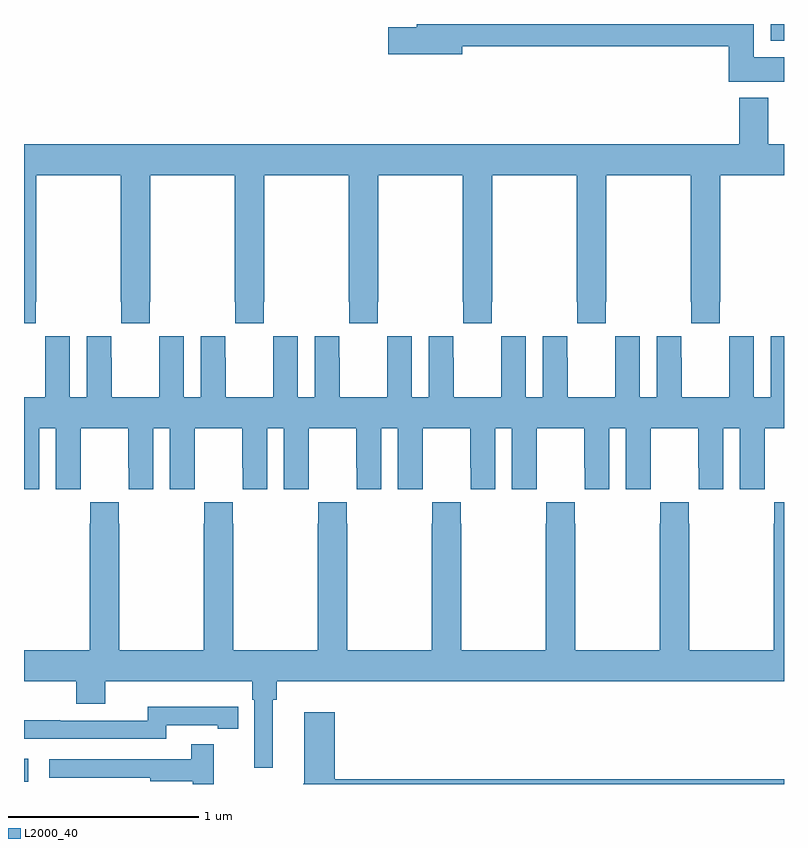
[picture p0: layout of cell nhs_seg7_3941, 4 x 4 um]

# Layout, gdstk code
import gdstk
lib = gdstk.Library(unit=1e-6, precision=1e-09)
def R(c, l, rs):  # rectangles x0, y0, x1, y1
    for r in rs: c.add(gdstk.rectangle(r[:2], r[2:], *l))
def P(c, l, *ps):  # polygons
    for p in ps: c.add(gdstk.Polygon(p, *l))
L2000_40 = (2000, 40)

nhs_seg7_3941 = lib.new_cell('nhs_seg7_3941')
R(nhs_seg7_3941, L2000_40, [(359,1076.013,359.023,1076.134), (362.93,1079.912,363,1080)])
P(nhs_seg7_3941, L2000_40, [(363,1079.824),(362.842,1079.824),(362.842,1080),(361.067,1080),(361.067,1079.984),(360.918,1079.984),(360.918,1079.842),(361.306,1079.842),(361.306,1079.884),(362.708,1079.884),(362.708,1079.696),(363,1079.696)],
  [(359.061,1078.537),(359.064,1078.537),(359.064,1079.204),(359.509,1079.204),(359.509,1078.537),(359.511,1078.537),(359.511,1078.425),(359.661,1078.425),(359.661,1078.537),(359.664,1078.537),(359.664,1079.204),(360.109,1079.204),(360.109,1078.537),(360.111,1078.537),(360.111,1078.425),(360.261,1078.425),(360.261,1078.537),(360.264,1078.537),(360.264,1079.204),(360.709,1079.204),(360.709,1078.537),(360.711,1078.537),(360.711,1078.425),(360.861,1078.425),(360.861,1078.537),(360.864,1078.537),(360.864,1079.204),(361.309,1079.204),(361.309,1078.537),(361.311,1078.537),(361.311,1078.425),(361.461,1078.425),(361.461,1078.537),(361.464,1078.537),(361.464,1079.204),(361.909,1079.204),(361.909,1078.537),(361.911,1078.537),(361.911,1078.425),(362.061,1078.425),(362.061,1078.537),(362.064,1078.537),(362.064,1079.204),(362.509,1079.204),(362.509,1078.537),(362.511,1078.537),(362.511,1078.425),(362.661,1078.425),(362.661,1078.537),(362.664,1078.537),(362.664,1079.204),(363,1079.204),(363,1079.368),(362.917,1079.368),(362.917,1079.611),(362.765,1079.611),(362.765,1079.368),(359,1079.368),(359,1078.425),(359.061,1078.425)],
  [(360.749,1077.664),(360.75,1077.664),(360.75,1077.552),(360.88,1077.552),(360.88,1077.872),(360.968,1077.872),(360.968,1077.552),(361.098,1077.552),(361.098,1077.664),(361.099,1077.664),(361.099,1077.872),(361.349,1077.872),(361.349,1077.664),(361.35,1077.664),(361.35,1077.552),(361.48,1077.552),(361.48,1077.872),(361.568,1077.872),(361.568,1077.552),(361.698,1077.552),(361.698,1077.664),(361.699,1077.664),(361.699,1077.872),(361.949,1077.872),(361.949,1077.664),(361.95,1077.664),(361.95,1077.552),(362.08,1077.552),(362.08,1077.872),(362.168,1077.872),(362.168,1077.552),(362.298,1077.552),(362.298,1077.664),(362.299,1077.664),(362.299,1077.872),(362.549,1077.872),(362.549,1077.664),(362.55,1077.664),(362.55,1077.552),(362.68,1077.552),(362.68,1077.872),(362.768,1077.872),(362.768,1077.552),(362.898,1077.552),(362.898,1077.664),(362.899,1077.664),(362.899,1077.872),(363,1077.872),(363,1078.357),(362.93,1078.357),(362.93,1078.036),(362.842,1078.036),(362.842,1078.357),(362.712,1078.357),(362.712,1078.244),(362.711,1078.244),(362.711,1078.036),(362.461,1078.036),(362.461,1078.244),(362.46,1078.244),(362.46,1078.357),(362.33,1078.357),(362.33,1078.036),(362.242,1078.036),(362.242,1078.357),(362.112,1078.357),(362.112,1078.244),(362.111,1078.244),(362.111,1078.036),(361.861,1078.036),(361.861,1078.244),(361.86,1078.244),(361.86,1078.357),(361.73,1078.357),(361.73,1078.036),(361.642,1078.036),(361.642,1078.357),(361.512,1078.357),(361.512,1078.244),(361.511,1078.244),(361.511,1078.036),(361.261,1078.036),(361.261,1078.244),(361.26,1078.244),(361.26,1078.357),(361.13,1078.357),(361.13,1078.036),(361.042,1078.036),(361.042,1078.357),(360.912,1078.357),(360.912,1078.244),(360.911,1078.244),(360.911,1078.036),(360.661,1078.036),(360.661,1078.244),(360.66,1078.244),(360.66,1078.357),(360.53,1078.357),(360.53,1078.036),(360.442,1078.036),(360.442,1078.357),(360.312,1078.357),(360.312,1078.244),(360.311,1078.244),(360.311,1078.036),(360.061,1078.036),(360.061,1078.244),(360.06,1078.244),(360.06,1078.357),(359.93,1078.357),(359.93,1078.036),(359.842,1078.036),(359.842,1078.357),(359.712,1078.357),(359.712,1078.244),(359.711,1078.244),(359.711,1078.036),(359.461,1078.036),(359.461,1078.244),(359.46,1078.244),(359.46,1078.357),(359.33,1078.357),(359.33,1078.036),(359.242,1078.036),(359.242,1078.357),(359.112,1078.357),(359.112,1078.244),(359.111,1078.244),(359.111,1078.036),(359,1078.036),(359,1077.552),(359.08,1077.552),(359.08,1077.872),(359.168,1077.872),(359.168,1077.552),(359.298,1077.552),(359.298,1077.664),(359.299,1077.664),(359.299,1077.872),(359.549,1077.872),(359.549,1077.664),(359.55,1077.664),(359.55,1077.552),(359.68,1077.552),(359.68,1077.872),(359.768,1077.872),(359.768,1077.552),(359.898,1077.552),(359.898,1077.664),(359.899,1077.664),(359.899,1077.872),(360.149,1077.872),(360.149,1077.664),(360.15,1077.664),(360.15,1077.552),(360.28,1077.552),(360.28,1077.872),(360.368,1077.872),(360.368,1077.552),(360.498,1077.552),(360.498,1077.664),(360.499,1077.664),(360.499,1077.872),(360.749,1077.872)],
  [(363,1077.484),(362.949,1077.484),(362.949,1077.371),(362.947,1077.371),(362.947,1076.704),(362.502,1076.704),(362.502,1077.371),(362.499,1077.371),(362.499,1077.484),(362.349,1077.484),(362.349,1077.371),(362.347,1077.371),(362.347,1076.704),(361.902,1076.704),(361.902,1077.371),(361.899,1077.371),(361.899,1077.484),(361.749,1077.484),(361.749,1077.371),(361.747,1077.371),(361.747,1076.704),(361.302,1076.704),(361.302,1077.371),(361.299,1077.371),(361.299,1077.484),(361.149,1077.484),(361.149,1077.371),(361.147,1077.371),(361.147,1076.704),(360.702,1076.704),(360.702,1077.371),(360.699,1077.371),(360.699,1077.484),(360.549,1077.484),(360.549,1077.371),(360.547,1077.371),(360.547,1076.704),(360.102,1076.704),(360.102,1077.371),(360.099,1077.371),(360.099,1077.484),(359.949,1077.484),(359.949,1077.371),(359.947,1077.371),(359.947,1076.704),(359.502,1076.704),(359.502,1077.371),(359.499,1077.371),(359.499,1077.484),(359.349,1077.484),(359.349,1077.371),(359.347,1077.371),(359.347,1076.704),(359,1076.704),(359,1076.54),(359.276,1076.54),(359.276,1076.423),(359.428,1076.423),(359.428,1076.54),(360.2,1076.54),(360.2,1076.444),(360.213,1076.444),(360.213,1076.085),(360.31,1076.085),(360.31,1076.444),(360.329,1076.444),(360.329,1076.54),(363,1076.54)],
  [(359.748,1076.31),(360.02,1076.31),(360.02,1076.29),(360.128,1076.29),(360.128,1076.406),(360.02,1076.406),(360.02,1076.407),(359.652,1076.407),(359.652,1076.334),(359.192,1076.334),(359.192,1076.336),(359,1076.336),(359,1076.238),(359.748,1076.238)],
  [(363,1076.024),(360.635,1076.024),(360.635,1076.377),(360.476,1076.377),(360.476,1076.001),(360.469,1076.001),(360.469,1076),(363,1076)],
  [(359.999,1076.209),(359.881,1076.209),(359.881,1076.13),(359.133,1076.13),(359.133,1076.034),(359.665,1076.034),(359.665,1076.014),(359.889,1076.014),(359.889,1076),(359.999,1076)])

lib.write_gds('nhs_seg7_3941.gds')
